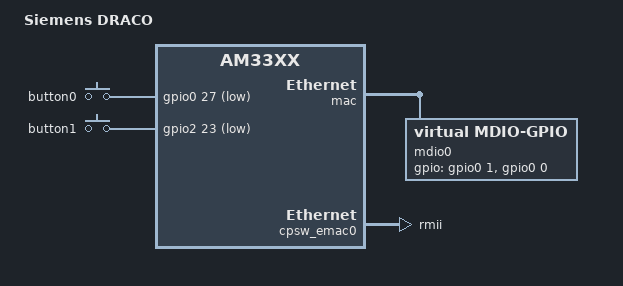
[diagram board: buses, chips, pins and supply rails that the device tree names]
/*
 * Support for Siemens DRACO board
 *
 * Copyright (C) 2014 - Lukas Stockmann <lukas.stockmann@siemens.com>
 *
 * This file is licensed under the terms of the GNU General Public License
 * version 2.  This program is licensed "as is" without any warranty of any
 * kind, whether express or implied.
 */

/dts-v1/;

#include "am33xx.dtsi"
#include "am335x-draco.dtsi"
#include <dt-bindings/input/input.h>

/ {
	model = "Siemens DRACO";
	compatible = "siemens,draco", "ti,am33xx";

	/* ethernet alias is needed for the MAC address passing from U-Boot */
	aliases {
		ethernet0 = &cpsw_emac0;
		mdio-gpio0 = &mdio0;
	};

	gpio-keys {
		compatible = "gpio-keys";
		button0 {
			label = "button0";
			gpios = <&gpio0 27 GPIO_ACTIVE_LOW>;
			linux,code = <KEY_F1>; /* button0 */
		};
		button1 {
			label = "button1";
			gpios = <&gpio2 23 GPIO_ACTIVE_LOW>;
			linux,code = <KEY_F2>; /* button1 */
		};
	};

	ocp {
		debugss: debugss@4b000000 {
			compatible = "ti,debugss";
			ti,hwmods = "debugss";
			reg = <0x4b000000 1000000>;
			status = "disabled";
		};
	};
};

&am33xx_pinmux {
	pinctrl-names = "default";
	pinctrl-0 = <&gpio_mux_pins>;

	gpio_mux_pins: gpio_mux_pins {
		pinctrl-single,pins = <
			0x1d0 (PIN_INPUT | MUX_MODE0)	/* tms jtag */
			0x1d4 (PIN_INPUT | MUX_MODE0)	/* tdi jtag */
			0x1d8 (PIN_OUTPUT | MUX_MODE0)	/* tdo jtag */
			0x1dc (PIN_INPUT | MUX_MODE0)	/* tck jtag */
			0x1e0 (PIN_INPUT | MUX_MODE0)	/* trstn jtag */
		>;
	};

	cpsw_default: cpsw_default {
		pinctrl-single,pins = <
			0x0E8 (PIN_INPUT_PULLUP | MUX_MODE7)	/* lcd_plck FIX STO should be a OUTPUT driven high*/
			0x10c (PIN_INPUT_PULLDOWN | MUX_MODE1)	/* mii1_crs.rmii1_crs_dv */
			0x114 (PIN_OUTPUT | MUX_MODE1)		/* mii1_txen.mii1_txen */
			0x124 (PIN_OUTPUT | MUX_MODE1)		/* mii1_txd1.mii1_txd1 */
			0x128 (PIN_OUTPUT | MUX_MODE1)		/* mii1_txd0.mii1_txd0 */
			0x13c (PIN_INPUT_PULLDOWN | MUX_MODE1)	/* mii1_rxd1.mii1_rxd1 */
			0x140 (PIN_INPUT_PULLDOWN | MUX_MODE1)	/* mii1_rxd0.mii1_rxd0 */
			0x144 (PIN_INPUT_PULLDOWN | MUX_MODE0)	/* rmii1_refclk.rmii1_refclk */
		>;
	};

	cpsw_sleep: cpsw_sleep {
		pinctrl-single,pins = <
			0x10c (PIN_INPUT_PULLDOWN | MUX_MODE7)
			0x114 (PIN_INPUT_PULLDOWN | MUX_MODE7)
			0x124 (PIN_INPUT_PULLDOWN | MUX_MODE7)
			0x128 (PIN_INPUT_PULLDOWN | MUX_MODE7)
			0x13c (PIN_INPUT_PULLDOWN | MUX_MODE7)
			0x140 (PIN_INPUT_PULLDOWN | MUX_MODE7)
			0x144 (PIN_INPUT_PULLDOWN | MUX_MODE7)
		>;
	};

	davinci_mdio_default: davinci_mdio_default {
		pinctrl-single,pins = <
			/* MDIO */
			0x148 (PIN_INPUT | SLEWCTRL_FAST | MUX_MODE0)	/* mdio_data.mdio_data */
			0x14c (PIN_OUTPUT | MUX_MODE0)			/* mdio_clk.mdio_clk */
		>;
	};

	davinci_mdio_sleep: davinci_mdio_sleep {
		pinctrl-single,pins = <
			/* MDIO reset value */
			0x148 (PIN_INPUT_PULLDOWN | MUX_MODE7)
			0x14c (PIN_INPUT_PULLDOWN | MUX_MODE7)
		>;
	};

	gpio_mdio_default: gpio_mdio_default {
		pinctrl-single,pins = <
			/* MDIO via GPIO */
			0x148 (PIN_INPUT | MUX_MODE7)	/* mdio_data.mdio_data GPIO0_0 */
			0x14c (PIN_OUTPUT | MUX_MODE7)	/* mdio_clk.mdio_clk GPIO0_1 */
		>;
	};
};

&mac {
	pinctrl-names = "default", "sleep";
	pinctrl-0 = <&cpsw_default>;
	pinctrl-1 = <&cpsw_sleep>;
	slaves = <1>;			/* use only one emac if */

	mdio0: gpio {
		compatible = "virtual,mdio-gpio";
		pinctrl-names = "default";
		pinctrl-0 = <&gpio_mdio_default>;

		#address-cells = <1>;
		#size-cells = <0>;
		gpios = <&gpio0 1 GPIO_ACTIVE_HIGH	/* MDIO-CLK */
			 &gpio0 0 GPIO_ACTIVE_HIGH>;	/* MDIO-DATA */

		phy0: ethernet-phy@1 {
			reg = <0>;
		};
	};
};

/* Disable davinci/am335x mdio interface on this platform */
&davinci_mdio {
	pinctrl-names = "default", "sleep";
	pinctrl-0 = <&davinci_mdio_default>;
	pinctrl-1 = <&davinci_mdio_sleep>;
	status = "disabled";
};

&cpsw_emac0 {
	phy_id = <&mdio0>, <0>;
	phy-mode = "rmii";
};

&phy_sel {
	rmii-clock-ext;
};
